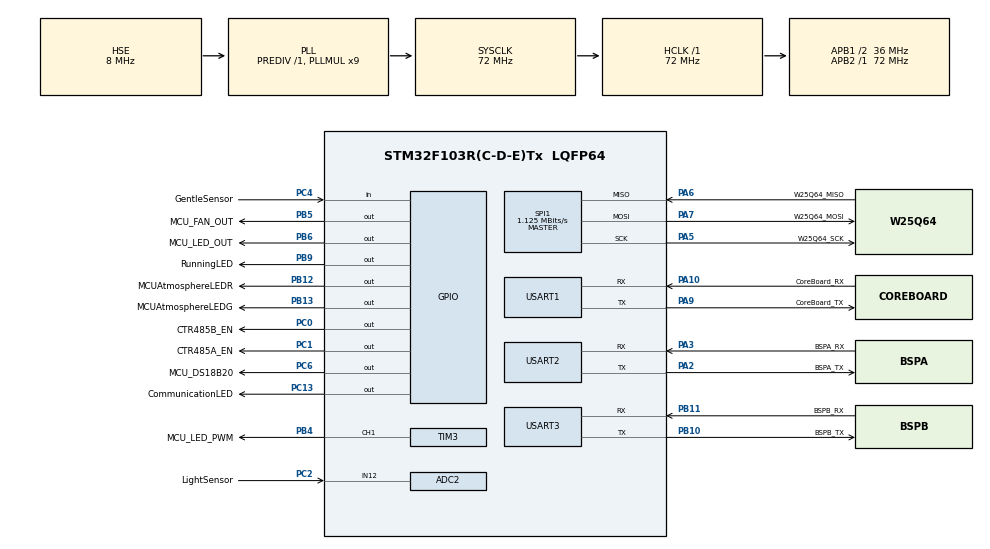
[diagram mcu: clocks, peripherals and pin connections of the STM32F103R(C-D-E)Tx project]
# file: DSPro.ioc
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ADC1.Channel-0\#ChannelRegularConversion=ADC_CHANNEL_TEMPSENSOR
ADC1.ContinuousConvMode=ENABLE
ADC1.DataAlign=ADC_DATAALIGN_RIGHT
ADC1.DiscontinuousConvMode=DISABLE
ADC1.EnableAnalogWatchDog=false
ADC1.EnableRegularConversion=ENABLE
ADC1.ExternalTrigConv=ADC_SOFTWARE_START
ADC1.InjNumberOfConversion=0
ADC1.NbrOfConversion=1
ADC1.NbrOfConversionFlag=1
ADC1.Rank-0\#ChannelRegularConversion=1
ADC1.SamplingTime-0\#ChannelRegularConversion=ADC_SAMPLETIME_239CYCLES_5
ADC1.ScanConvMode=ADC_SCAN_DISABLE
ADC1.master=1
ADC2.Channel-0\#ChannelRegularConversion=ADC_CHANNEL_12
ADC2.ContinuousConvMode=DISABLE
ADC2.DataAlign=ADC_DATAALIGN_RIGHT
ADC2.DiscontinuousConvMode=DISABLE
ADC2.EnableAnalogWatchDog=false
ADC2.EnableRegularConversion=ENABLE
ADC2.ExternalTrigConv=ADC_SOFTWARE_START
ADC2.InjNumberOfConversion=0
ADC2.NbrOfConversion=1
ADC2.NbrOfConversionFlag=1
ADC2.Rank-0\#ChannelRegularConversion=1
ADC2.SamplingTime-0\#ChannelRegularConversion=ADC_SAMPLETIME_239CYCLES_5
ADC2.ScanConvMode=ADC_SCAN_DISABLE
Dma.Request0=USART1_RX
Dma.Request1=USART2_RX
Dma.Request2=USART3_RX
Dma.USART1_RX.0.Direction=DMA_PERIPH_TO_MEMORY
Dma.USART1_RX.0.Instance=DMA1_Channel5
Dma.USART1_RX.0.MemDataAlignment=DMA_MDATAALIGN_BYTE
Dma.USART1_RX.0.MemInc=DMA_MINC_ENABLE
Dma.USART1_RX.0.Mode=DMA_NORMAL
Dma.USART1_RX.0.PeriphDataAlignment=DMA_PDATAALIGN_BYTE
Dma.USART1_RX.0.PeriphInc=DMA_PINC_DISABLE
Dma.USART1_RX.0.Priority=DMA_PRIORITY_LOW
Dma.USART2_RX.1.Direction=DMA_PERIPH_TO_MEMORY
Dma.USART2_RX.1.Instance=DMA1_Channel6
Dma.USART2_RX.1.MemDataAlignment=DMA_MDATAALIGN_BYTE
Dma.USART2_RX.1.MemInc=DMA_MINC_ENABLE
Dma.USART2_RX.1.Mode=DMA_NORMAL
Dma.USART2_RX.1.PeriphDataAlignment=DMA_PDATAALIGN_BYTE
Dma.USART2_RX.1.PeriphInc=DMA_PINC_DISABLE
Dma.USART2_RX.1.Priority=DMA_PRIORITY_LOW
Dma.USART3_RX.2.Direction=DMA_PERIPH_TO_MEMORY
Dma.USART3_RX.2.Instance=DMA1_Channel3
Dma.USART3_RX.2.MemDataAlignment=DMA_MDATAALIGN_BYTE
Dma.USART3_RX.2.MemInc=DMA_MINC_ENABLE
Dma.USART3_RX.2.Mode=DMA_NORMAL
Dma.USART3_RX.2.PeriphDataAlignment=DMA_PDATAALIGN_BYTE
Dma.USART3_RX.2.PeriphInc=DMA_PINC_DISABLE
Dma.USART3_RX.2.Priority=DMA_PRIORITY_LOW
Mcu.Family=STM32F1
Mcu.Name=STM32F103R(C-D-E)Tx
Mcu.Package=LQFP64
NVIC.ADC1_2_IRQn=true\:0\:0\:false\:true\:true\:10\:true
NVIC.DMA1_Channel3_IRQn=true\:0\:0\:false\:true\:true\:7\:false
NVIC.DMA1_Channel5_IRQn=true\:0\:0\:false\:true\:true\:8\:false
NVIC.DMA1_Channel6_IRQn=true\:0\:0\:false\:true\:true\:9\:false
NVIC.PriorityGroup=NVIC_PRIORITYGROUP_4
NVIC.SPI1_IRQn=true\:0\:0\:false\:false\:true\:true
NVIC.TIM3_IRQn=true\:0\:0\:false\:false\:true\:true
NVIC.TIM4_IRQn=true\:0\:0\:false\:true\:true\:4\:true
NVIC.TIM5_IRQn=true\:0\:0\:false\:true\:true\:5\:true
NVIC.USART1_IRQn=true\:0\:0\:false\:true\:true\:1\:true
NVIC.USART2_IRQn=true\:0\:0\:false\:true\:true\:2\:true
NVIC.USART3_IRQn=true\:0\:0\:false\:true\:true\:3\:true
PA10.GPIO_Label=CoreBoard_RX
PA10.Mode=Asynchronous
PA10.Signal=USART1_RX
PA13.Mode=Serial_Wire
PA13.Signal=SYS_JTMS-SWDIO
PA14.Mode=Serial_Wire
PA14.Signal=SYS_JTCK-SWCLK
PA2.GPIO_Label=BSPA_TX
PA2.Mode=Asynchronous
PA2.Signal=USART2_TX
PA3.GPIO_Label=BSPA_RX
PA3.Mode=Asynchronous
PA3.Signal=USART2_RX
PA4.GPIO_Label=W25Q64_NSS
PA4.Signal=SPI1_NSS
PA5.GPIO_Label=W25Q64_SCK
PA5.Mode=Full_Duplex_Master
PA5.Signal=SPI1_SCK
PA6.GPIO_Label=W25Q64_MISO
PA6.Mode=Full_Duplex_Master
PA6.Signal=SPI1_MISO
PA7.GPIO_Label=W25Q64_MOSI
PA7.Mode=Full_Duplex_Master
PA7.Signal=SPI1_MOSI
PA9.GPIO_Label=CoreBoard_TX
PA9.Mode=Asynchronous
PA9.Signal=USART1_TX
PB10.GPIO_Label=BSPB_TX
PB10.Mode=Asynchronous
PB10.Signal=USART3_TX
PB11.GPIO_Label=BSPB_RX
PB11.Mode=Asynchronous
PB11.Signal=USART3_RX
PB12.GPIO_Label=MCUAtmosphereLEDR
PB12.Signal=GPIO_Output
PB13.GPIO_Label=MCUAtmosphereLEDG
PB13.Signal=GPIO_Output
PB4.GPIO_Label=MCU_LED_PWM
PB4.Signal=S_TIM3_CH1
PB5.GPIO_Label=MCU_FAN_OUT
PB5.Signal=GPIO_Output
PB6.GPIO_Label=MCU_LED_OUT
PB6.Signal=GPIO_Output
PB9.GPIO_Label=RunningLED
PB9.Signal=GPIO_Output
PC0.GPIO_Label=CTR485B_EN
PC0.Signal=GPIO_Output
PC1.GPIO_Label=CTR485A_EN
PC1.Signal=GPIO_Output
PC13-TAMPER-RTC.GPIO_Label=CommunicationLED
PC13-TAMPER-RTC.Signal=GPIO_Output
PC2.GPIO_Label=LightSensor
PC2.Signal=ADCx_IN12
PC4.GPIO_Label=GentleSensor
PC4.GPIO_PuPd=GPIO_PULLUP
PC4.Signal=GPIO_Input
PC6.GPIO_Label=MCU_DS18B20
PC6.Signal=GPIO_Output
PD0-OSC_IN.Mode=HSE-External-Oscillator
PD0-OSC_IN.Signal=RCC_OSC_IN
PD1-OSC_OUT.Mode=HSE-External-Oscillator
PD1-OSC_OUT.Signal=RCC_OSC_OUT
ProjectManager.HeapSize=0x200
ProjectManager.StackSize=0x400
ProjectManager.TargetToolchain=MDK-ARM V5
RCC.ADCPresc=RCC_ADCPCLK2_DIV6
RCC.AHBFreq_Value=72000000
RCC.APB1CLKDivider=RCC_HCLK_DIV2
RCC.APB1Freq_Value=36000000
RCC.APB1TimFreq_Value=72000000
RCC.APB2Freq_Value=72000000
RCC.APB2TimFreq_Value=72000000
RCC.HCLKFreq_Value=72000000
RCC.PLLMUL=RCC_PLL_MUL9
RCC.PLLSourceVirtual=RCC_PLLSOURCE_HSE
RCC.SYSCLKFreq_VALUE=72000000
RCC.SYSCLKSource=RCC_SYSCLKSOURCE_PLLCLK
RCC.USBFreq_Value=72000000
SH.ADCx_IN12.0=ADC2_IN12,IN12
SH.S_TIM3_CH1.0=TIM3_CH1,PWM Generation1 CH1
SPI1.BaudRatePrescaler=SPI_BAUDRATEPRESCALER_64
SPI1.CLKPhase=SPI_PHASE_1EDGE
SPI1.CLKPolarity=SPI_POLARITY_LOW
SPI1.CalculateBaudRate=1.125 MBits/s
SPI1.DataSize=SPI_DATASIZE_8BIT
SPI1.Direction=SPI_DIRECTION_2LINES
SPI1.Mode=SPI_MODE_MASTER
SPI1.VirtualType=VM_MASTER
TIM3.Channel-PWM\ Generation1\ CH1=TIM_CHANNEL_1
TIM3.OCFastMode_PWM-PWM\ Generation1\ CH1=TIM_OCFAST_DISABLE
TIM3.Period=4000-1
TIM3.Prescaler=72-1
TIM3.Pulse-PWM\ Generation1\ CH1=0
TIM4.Period=100-1
TIM4.Prescaler=72-1
TIM5.Period=1000-1
TIM5.Prescaler=72-1
USART1.VirtualMode=VM_ASYNC
USART2.VirtualMode=VM_ASYNC
USART3.VirtualMode=VM_ASYNC
VP_ADC1_TempSens_Input.Mode=IN-TempSens
VP_TIM4_VS_ClockSourceINT.Mode=Internal
VP_TIM5_VS_ClockSourceINT.Mode=Internal
board=DSv2.2Pro

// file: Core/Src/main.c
/**
  ******************************************************************************
  * @file           : main.c
  * @brief          : Main program body
  ******************************************************************************
  ******************************************************************************
  */
#include "main.h"
#include "stm32f1xx_hal.h"
#include "adc.h"
#include "dma.h"
#include "spi.h"
#include "tim.h"
#include "usart.h"
#include "gpio.h"

/* USER CODE BEGIN Includes */
#include "stdio.h"
#include "string.h"
/* USER CODE END Includes */

/* USER CODE BEGIN PV */
/* Private variables ---------------------------------------------------------*/
#define DEBUG       2
#define TIMEOUTNUM            42000UL  //42s
#define WAITINGTIMEOUTNUM     26000UL  //26s
#define ADCWAITINGTIMEOUTNUM  5000UL   //5s进行一次ADC采样

/* 车道机状态定义 */
enum ModeState{
  NORMAL_RUNNING_STATE  = 0, //正常运行状态
  SET_PRAMA_STATE       = 1, //参数设置状态
  COIL_TIGGER_STATE     = 2, //地感线圈触发来车状态
  SOFT_TIGGER_STATE     = 3, //视频流触发来车状态
};

enum ModeState gMachineStateFlag = NORMAL_RUNNING_STATE; //全局的状态变量
GPIOSTATUSDETECTION gGentleSensorStatusDetection;//地感检测结构体

uint16_t gTIM5LEDCheckCnt = 0;
uint8_t  gAtomsphereLedsModeFlag = 0;
uint32_t gCarTimeoutCnt = 0;
uint8_t gCarTimeoutFlag = 0;
uint8_t gSendAndReceiveFlag = 0; //0 -- 表示未发送  1 -- 表示已经发送命令，处在等待接收状态  2 -- 表示接收成功 3 -- 表示入场超时
uint32_t gSendAndReceiveTimeoutCnt  = 0;
uint16_t gTemptureValue = 0;
uint16_t gLightValue = 0;
uint8_t gADCSampleFlag = 0;
uint16_t gADCSampleTimeCnt = 0;

uint16_t gTemptureAlarm = 1800;//默认的温度报警值
uint16_t gLightAlarm;
/* USER CODE END PV */

void SystemClock_Config(void);
static void MX_NVIC_Init(void);

/* USER CODE BEGIN PFP */
/* Private function prototypes -----------------------------------------------*/
int fputc(int ch,FILE *f)
{
  HAL_UART_Transmit(&huart1,(uint8_t*)&ch,1,0x02);
  return ch;
}
void DEBUG_PRINT(uint8_t * x,uint8_t prior)
{
  if(prior == DEBUG)
      printf("%s\r\n",x);
}
static uint8_t getXORCode(uint8_t* pData,uint16_t len)
{
  uint8_t ret;
  uint16_t i;
  ret = pData[0];
  for(i = 1; i < len; i++)
  {
    ret ^= pData[i];
  }
  return ret;
}

static void SendCarComingCmdToBoard(void)
{
  uint8_t data[7];
  data[0] = 0x5B;
  data[1] = 0xB1;
  data[2] = 0x01;
  data[3] = 0x00;
  data[4] = 0x00;
  data[5] = 0xB0;
  data[6] = 0x5D;
  DS_SendDataToCoreBoard(data, 7, 0x0F);
}

static void SendAckToBoard(Dev_Type boardType,uint8_t ackCmd,uint8_t ackParam1, uint8_t ackParam2)
{
  uint8_t ackData[6];
  ackData[0] = 0x5B;
  ackData[1] = ackCmd;
  ackData[2] = ackParam1;
  ackData[3] = ackParam2;
  ackData[4] = getXORCode(ackData+1,3);
  ackData[5] = 0x5D;
  if(CoreBoard_Dev == boardType)
  {
    DS_SendDataToCoreBoard(ackData,6,0x0F);
  }
  if(LeftBoard_Dev == boardType)
  {
    DS_SendDataToLeftDoorBoard(ackData,6,0x0F);
  }
  if(RightBoard_Dev == boardType)
  {
    DS_SendDataToRightDoorBoard(ackData,6,0x0F);
  }
}
//上报车辆出入场信息（失败，成功，超时）
static void reportCarEnterOrExitInfo(void)
{
  if(2 == gSendAndReceiveFlag)//车辆入场成功
  {
    gSendAndReceiveFlag = 0;
    gMachineStateFlag = NORMAL_RUNNING_STATE;
    DEBUG_PRINT((uint8_t*)"Car Enter successed",3);
    SendAckToBoard(CoreBoard_Dev,0xAB,0x02,0x00);
  }
  else if(3 == gSendAndReceiveFlag) //车辆入场失败
  {
    gSendAndReceiveFlag = 0;
    gMachineStateFlag = NORMAL_RUNNING_STATE;
    DEBUG_PRINT((uint8_t*)"Car Enter timeout",3);
    SendAckToBoard(CoreBoard_Dev,0xAB,0x02,0x01);
  }
}
/* PWM输出占空比设置100HZ */
void userPWMSetValue(uint16_t value)
{
  TIM_OC_InitTypeDef sConfigOC;

  sConfigOC.OCMode = TIM_OCMODE_PWM1;
  sConfigOC.Pulse = value;
  sConfigOC.OCPolarity = TIM_OCPOLARITY_HIGH;
  sConfigOC.OCFastMode = TIM_OCFAST_DISABLE;
  HAL_TIM_PWM_ConfigChannel(&htim3, &sConfigOC, TIM_CHANNEL_1);
  HAL_TIM_PWM_Start(&htim3,TIM_CHANNEL_1);
}

/* 解析来自CoreBoard的信息 */
void checkCoreBoardInfo(void);
/* 解析来自LeftDoor的信息 */
void checkLeftDoorInfo(void);
/* 解析来自RightDoor的信息 */
void checkRightDoorInfo(void);
/* 获取温度和光照强度值 */
uint32_t getTemptureAndLightValues(void);
/* USER CODE END PFP */

int main(void)
{

  /* MCU Configuration----------------------------------------------------------*/

  /* Reset of all peripherals, Initializes the Flash interface and the Systick. */
  HAL_Init();

  /* Configure the system clock */
  SystemClock_Config();

  /* Initialize all configured peripherals */
  MX_GPIO_Init();
  MX_DMA_Init();
  MX_ADC1_Init();
  MX_SPI1_Init();
  MX_TIM4_Init();
  MX_TIM5_Init();
  MX_USART1_UART_Init();
  MX_USART2_UART_Init();
  MX_USART3_UART_Init();
  MX_TIM3_Init();
  MX_ADC2_Init();

  /* Initialize interrupts */
  MX_NVIC_Init();
  /* USER CODE BEGIN 2 */
  HAL_TIM_Base_Start_IT(&htim4);
  HAL_TIM_Base_Start_IT(&htim5);
  //HAL_TIM_PWM_Start(&htim3,TIM_CHANNEL_1);//PWM调制100Hz
  //HAL_TIM_PWM_Stop(&htim3,TIM_CHANNEL_1);//PWM停止输出
  /* 地感检测变量初始化 */
  gGentleSensorStatusDetection.GpioFilterCnt = 0;
  gGentleSensorStatusDetection.GpioFilterCntSum = 50;
  gGentleSensorStatusDetection.GpioValidLogicTimeCnt = 0;
  /* 初始化核心板，道闸A 以及道闸B 的通讯 */
  DS_CoreBoardProtocolInit();
  DS_LeftDoorBoardProtocolInit();
  DS_RightDoorBoardProtocolInit();
  /* USER CODE END 2 */

  /* Infinite loop */
  while (1)
  {

  /* USER CODE BEGIN 3 */
    HAL_GPIO_WritePin(RunningLED_GPIO_Port,RunningLED_Pin,RunningLED_ON);//打开工作指示灯
    //printf("Welcome to use the devience\r\n");
    //HAL_UART_Transmit(&huart1,(uint8_t*)"Welcome to use the devience\r\n",30,0x02);
    //HAL_Delay(500);
    /*
    1.检测串口接收到的数据
    2.解析串口接收数据
    3.获取ADC采样值
    */
    /* 解析来自CoreBoard的信息 */
    checkCoreBoardInfo();
    /* 解析来自LeftDoor的信息 */
    checkLeftDoorInfo();
    /* 解析来自RightDoor的信息 */
    checkRightDoorInfo();
    /* 获取温度和光照强度值 */
    getTemptureAndLightValues();

    /* 正常运行模式 */
    if(NORMAL_RUNNING_STATE == gMachineStateFlag)//正常运行状态
    {
      /*
      1.检测温度值，并根据温度数值决定是否打开风扇
      2.检测光照强度值，并根据光照强度决定是否常开补光灯
      3.氛围灯常量（绿色，不闪烁，红灯灭）
      4.检测是否存在超时
      5.关闭补光灯
      */
      if(gTemptureValue > gTemptureAlarm)//1.
      {
        HAL_GPIO_WritePin(MCU_FAN_OUT_GPIO_Port,MCU_FAN_OUT_Pin,MCU_FAN_ON);
      }
      else
      {
        HAL_GPIO_WritePin(MCU_FAN_OUT_GPIO_Port,MCU_FAN_OUT_Pin,MCU_FAN_OFF);
      }

      gAtomsphereLedsModeFlag = 0;//3.

      if(2 == gCarTimeoutFlag)//4.
      {
        DEBUG_PRINT((uint8_t*)"coil tigger error",3);
        /* 上报地感故障指令 */
        gCarTimeoutFlag = 0;
      }
      if(1 == gCarTimeoutFlag || 3 == gSendAndReceiveFlag)
      {
        gCarTimeoutFlag = 0;
        gSendAndReceiveFlag = 0;
        /* 返回车辆入场超时指令 */
        DEBUG_PRINT((uint8_t*)"Car stops timeout",3);
        SendAckToBoard(CoreBoard_Dev,0xAB,0x02,0x01);
        gGentleSensorStatusDetection.GpioValidLogicTimeCnt++;
      }
      HAL_GPIO_WritePin(MCU_LED_OUT_GPIO_Port,MCU_LED_OUT_Pin,MCU_LED_OFF);//5.

    }
    /* 参数设置模式 */
    if(SET_PRAMA_STATE == gMachineStateFlag) //参数设置状态
    {
      /*
      1.红灯闪烁，绿灯常量
      2.根据相关协议处理参数设置命令
      */
      gAtomsphereLedsModeFlag = 1;//1.
    }
    /* 地感触发模式下 */
    if(COIL_TIGGER_STATE == gMachineStateFlag) //地感触发状态
    {
      /*
      1.开启补光灯（PWM）
      2.开启氛围灯（绿灯闪烁，红灯长灭）
      3.上报车辆触发地感信息
      4.上报车辆出入场信息（失败，成功，超时）
      */
      HAL_GPIO_WritePin(MCU_LED_OUT_GPIO_Port,MCU_LED_OUT_Pin,MCU_LED_ON);//1.
      gAtomsphereLedsModeFlag = 2;//2.
      if(1 == gGentleSensorStatusDetection.GpioSendDataFlag) //3.上报车辆触发地感信息
      {
        SendCarComingCmdToBoard();
        //gSendAndReceiveFlag = 1;
        gGentleSensorStatusDetection.GpioSendDataFlag = 0;
      }
      //4.上报车辆出入场信息（失败，成功，超时）
      reportCarEnterOrExitInfo();

    }
    /* 视频流触发模式下 */
    if(SOFT_TIGGER_STATE == gMachineStateFlag) //视频流触发状态
    {
      /*
      1.开启补光灯（PWM）
      2.开启氛围灯（绿灯闪烁，红灯长灭）
      3.上报车辆出入场信息（失败，成功，超时）
      */
      HAL_GPIO_WritePin(MCU_LED_OUT_GPIO_Port,MCU_LED_OUT_Pin,MCU_LED_ON);//1.
      gAtomsphereLedsModeFlag = 2;//2.
      reportCarEnterOrExitInfo();//3.
    }

  }
  /* USER CODE END 3 */

}

void SystemClock_Config(void)
{

  RCC_OscInitTypeDef RCC_OscInitStruct;
  RCC_ClkInitTypeDef RCC_ClkInitStruct;
  RCC_PeriphCLKInitTypeDef PeriphClkInit;

    /**Initializes the CPU, AHB and APB busses clocks
    */
  RCC_OscInitStruct.OscillatorType = RCC_OSCILLATORTYPE_HSE;
  RCC_OscInitStruct.HSEState = RCC_HSE_ON;
  RCC_OscInitStruct.HSEPredivValue = RCC_HSE_PREDIV_DIV1;
  RCC_OscInitStruct.HSIState = RCC_HSI_ON;
  RCC_OscInitStruct.PLL.PLLState = RCC_PLL_ON;
  RCC_OscInitStruct.PLL.PLLSource = RCC_PLLSOURCE_HSE;
  RCC_OscInitStruct.PLL.PLLMUL = RCC_PLL_MUL9;
  if (HAL_RCC_OscConfig(&RCC_OscInitStruct) != HAL_OK)
  {
    _Error_Handler(__FILE__, __LINE__);
  }

    /**Initializes the CPU, AHB and APB busses clocks
    */
  RCC_ClkInitStruct.ClockType = RCC_CLOCKTYPE_HCLK|RCC_CLOCKTYPE_SYSCLK
                              |RCC_CLOCKTYPE_PCLK1|RCC_CLOCKTYPE_PCLK2;
  RCC_ClkInitStruct.SYSCLKSource = RCC_SYSCLKSOURCE_PLLCLK;
  RCC_ClkInitStruct.AHBCLKDivider = RCC_SYSCLK_DIV1;
  RCC_ClkInitStruct.APB1CLKDivider = RCC_HCLK_DIV2;
  RCC_ClkInitStruct.APB2CLKDivider = RCC_HCLK_DIV1;

  if (HAL_RCC_ClockConfig(&RCC_ClkInitStruct, FLASH_LATENCY_2) != HAL_OK)
  {
    _Error_Handler(__FILE__, __LINE__);
  }

  PeriphClkInit.PeriphClockSelection = RCC_PERIPHCLK_ADC;
  PeriphClkInit.AdcClockSelection = RCC_ADCPCLK2_DIV6;
  if (HAL_RCCEx_PeriphCLKConfig(&PeriphClkInit) != HAL_OK)
  {
    _Error_Handler(__FILE__, __LINE__);
  }

    /**Configure the Systick interrupt time
    */
  HAL_SYSTICK_Config(HAL_RCC_GetHCLKFreq()/1000);

    /**Configure the Systick
    */
  HAL_SYSTICK_CLKSourceConfig(SYSTICK_CLKSOURCE_HCLK);

  /* SysTick_IRQn interrupt configuration */
  HAL_NVIC_SetPriority(SysTick_IRQn, 0, 0);
}

/**
  * @brief NVIC Configuration.
  * @retval None
  */
static void MX_NVIC_Init(void)
{
  /* USART1_IRQn interrupt configuration */
  HAL_NVIC_SetPriority(USART1_IRQn, 0, 0);
  HAL_NVIC_EnableIRQ(USART1_IRQn);
  /* USART2_IRQn interrupt configuration */
  HAL_NVIC_SetPriority(USART2_IRQn, 0, 0);
  HAL_NVIC_EnableIRQ(USART2_IRQn);
  /* USART3_IRQn interrupt configuration */
  HAL_NVIC_SetPriority(USART3_IRQn, 0, 0);
  HAL_NVIC_EnableIRQ(USART3_IRQn);
  /* TIM4_IRQn interrupt configuration */
  HAL_NVIC_SetPriority(TIM4_IRQn, 0, 0);
  HAL_NVIC_EnableIRQ(TIM4_IRQn);
  /* TIM5_IRQn interrupt configuration */
  HAL_NVIC_SetPriority(TIM5_IRQn, 0, 0);
  HAL_NVIC_EnableIRQ(TIM5_IRQn);
  /* DMA1_Channel3_IRQn interrupt configuration */
  HAL_NVIC_SetPriority(DMA1_Channel3_IRQn, 0, 0);
  HAL_NVIC_EnableIRQ(DMA1_Channel3_IRQn);
  /* DMA1_Channel5_IRQn interrupt configuration */
  HAL_NVIC_SetPriority(DMA1_Channel5_IRQn, 0, 0);
  HAL_NVIC_EnableIRQ(DMA1_Channel5_IRQn);
  /* DMA1_Channel6_IRQn interrupt configuration */
  HAL_NVIC_SetPriority(DMA1_Channel6_IRQn, 0, 0);
  HAL_NVIC_EnableIRQ(DMA1_Channel6_IRQn);
  /* ADC1_2_IRQn interrupt configuration */
  HAL_NVIC_SetPriority(ADC1_2_IRQn, 0, 0);
  HAL_NVIC_EnableIRQ(ADC1_2_IRQn);
}

/* USER CODE BEGIN 4 */
void  HAL_TIM_PeriodElapsedCallback(TIM_HandleTypeDef *htim)
{
  UNUSED(htim);
  /* 0.1ms **********************************************************************************************/
  if(htim4.Instance == htim->Instance)
  {
    /* 添加地感处理 */
    gGentleSensorStatusDetection.GpioCurrentReadVal = HAL_GPIO_ReadPin(GentleSensor_GPIO_Port, GentleSensor_Pin);
    if(0 == gGentleSensorStatusDetection.GpioCurrentReadVal && 0 == gGentleSensorStatusDetection.GpioLastReadVal)
    {
      if(0 == gGentleSensorStatusDetection.GpioCheckedFlag)
      {
        gGentleSensorStatusDetection.GpioFilterCnt++;
        if(gGentleSensorStatusDetection.GpioFilterCnt > gGentleSensorStatusDetection.GpioFilterCntSum)
        {
          gGentleSensorStatusDetection.GpioStatusVal    = 1;
          gGentleSensorStatusDetection.GpioFilterCnt    = 0;
          gGentleSensorStatusDetection.GpioCheckedFlag  = 1;
          gGentleSensorStatusDetection.GpioSendDataFlag = 1;
          gMachineStateFlag =  COIL_TIGGER_STATE;
        }
      }
    }
    else
    {
      if(1 == gGentleSensorStatusDetection.GpioCheckedFlag) //车辆有压住地感到离开地感，进入正常模式
      {
        gMachineStateFlag = NORMAL_RUNNING_STATE;
      }
      gGentleSensorStatusDetection.GpioCheckedFlag	= 0;
      gGentleSensorStatusDetection.GpioFilterCnt		= 0;
      gGentleSensorStatusDetection.GpioStatusVal		= 0;
      gGentleSensorStatusDetection.GpioValidLogicTimeCnt = 1;
    }
    gGentleSensorStatusDetection.GpioLastReadVal = gGentleSensorStatusDetection.GpioCurrentReadVal;
  }
  /* 1ms ************************************************************************************************/
  if(htim5.Instance == htim->Instance)
  {
    /*闪烁频率设置位5Hz*/
    gTIM5LEDCheckCnt++;
    if(gTIM5LEDCheckCnt > 199)
    {
      DEBUG_PRINT((uint8_t*)"Enter LED Check",1);
      gTIM5LEDCheckCnt = 0;
      if(0 == gAtomsphereLedsModeFlag)
      {
        /* 绿灯亮红灯灭 */
        DEBUG_PRINT((uint8_t*)"Green led light and red led reset",1);
        HAL_GPIO_WritePin(MCUAtmosphereLEDR_GPIO_Port,MCUAtmosphereLEDR_Pin,MCUAtmosphereLEDR_OFF);
        HAL_GPIO_WritePin(MCUAtmosphereLEDG_GPIO_Port,MCUAtmosphereLEDG_Pin,MCUAtmosphereLEDG_ON);
      }
      else if(1 == gAtomsphereLedsModeFlag)
      {
        DEBUG_PRINT((uint8_t*)"Green led light and Red led flash",1);
        HAL_GPIO_WritePin(MCUAtmosphereLEDG_GPIO_Port,MCUAtmosphereLEDG_Pin,MCUAtmosphereLEDG_ON);
        HAL_GPIO_TogglePin(MCUAtmosphereLEDR_GPIO_Port,MCUAtmosphereLEDR_Pin);
      }
      else if(2 == gAtomsphereLedsModeFlag)
      {
        DEBUG_PRINT((uint8_t*)"Red led OFF and green led flash",1);
        HAL_GPIO_WritePin(MCUAtmosphereLEDR_GPIO_Port,MCUAtmosphereLEDR_Pin,MCUAtmosphereLEDR_OFF);
        HAL_GPIO_TogglePin(MCUAtmosphereLEDG_GPIO_Port,MCUAtmosphereLEDG_Pin);
      }
      else
      {
        //系统错误 - 001 表示灯模式错误
        DEBUG_PRINT((uint8_t*)" system err code -- 001 ",1);
      }
    }

    //车辆压地感超时检测
    if(1 == gGentleSensorStatusDetection.GpioStatusVal)
    {
      gCarTimeoutCnt++;
      if(gCarTimeoutCnt > TIMEOUTNUM)//车辆停留地感超时
      {
        gCarTimeoutCnt = 0;
        if(gGentleSensorStatusDetection.GpioValidLogicTimeCnt  < 10 && gGentleSensorStatusDetection.GpioValidLogicTimeCnt > 0)
        {
          gCarTimeoutFlag = 1;//写车辆停留超时标志
        }
        else if(gGentleSensorStatusDetection.GpioValidLogicTimeCnt  > 9)
        {
          gCarTimeoutFlag = 2;//地感故障
          gGentleSensorStatusDetection.GpioValidLogicTimeCnt  = 0;
        }
        gMachineStateFlag = NORMAL_RUNNING_STATE;//超时后进入正常模式，在正常模式上报超时指令
      }
    }
    else
    {
      gCarTimeoutCnt = 0;
    }

    //命令响应超时检测
    if(1 == gSendAndReceiveFlag)
    {
      gSendAndReceiveTimeoutCnt ++ ;
      if(gSendAndReceiveTimeoutCnt > WAITINGTIMEOUTNUM)
      {
        gSendAndReceiveFlag = 3;//等待超时
        gSendAndReceiveTimeoutCnt = 0;
      }
    }
    else if(0 == gSendAndReceiveFlag)
    {
      gSendAndReceiveTimeoutCnt = 0;
    }

    //ADC采样计数器
    gADCSampleTimeCnt++;
    if(gADCSampleTimeCnt > ADCWAITINGTIMEOUTNUM)
    {
      gADCSampleFlag = 1;
      gADCSampleTimeCnt = 0;
    }
  }
  /**********************************************************************************************************/
}

/* 解析来自CoreBoard的信息 */
void checkCoreBoardInfo(void)
{
  if(gCoreBoardInfoFlag)
  {
    gCoreBoardInfoFlag = 0;
    DEBUG_PRINT((uint8_t*)"Receive bytes from coreboard",1);
    printf("the uart1 rx_lenth is %d:\n%s\r\n",gCoreBoardReceiveInfoLength,gCoreBoardReceiveInfo);
    DS_SendDataToCoreBoard(gCoreBoardReceiveInfo,gCoreBoardReceiveInfoLength,0x0F);
    /* 解析来自核心板的数据和命令 */
    if(0x5B == gCoreBoardReceiveInfo[0] && 0x5D == gCoreBoardReceiveInfo[gCoreBoardReceiveInfoLength - 1])
    {
      if(0xA0 == (gCoreBoardReceiveInfo[1] & 0xF0))
      {
        DEBUG_PRINT((uint8_t*)"Receive ACK from coreboard",1);
      }
      else
      {
        DEBUG_PRINT((uint8_t*)"Receive CMD from coreboard",1);
        if(0xB2 == gCoreBoardReceiveInfo[1] && 0x01 == gCoreBoardReceiveInfo[2])
        {
          DEBUG_PRINT((uint8_t*)"Receive Open door cmd from coreboard",1);
          /* 发送开闸指令到道闸 */
          DS_SendDataToLeftDoorBoard(gCoreBoardReceiveInfo,gCoreBoardReceiveInfoLength,0x0F);
          DS_SendDataToRightDoorBoard(gCoreBoardReceiveInfo,gCoreBoardReceiveInfoLength,0x0F);
          gSendAndReceiveFlag = 1;//写发送开闸指令标记，用来进行接收时的标记
        }
        if(0xB2 == gCoreBoardReceiveInfo[1] && 0x02 == gCoreBoardReceiveInfo[2])
        {
          DEBUG_PRINT((uint8_t*)"Receive Videos tirggle cmd from coreboard",1);
          /* 发送开闸指令到道闸 */
          gCoreBoardReceiveInfo[2]  = 0x01;
          DS_SendDataToRightDoorBoard(gCoreBoardReceiveInfo,gCoreBoardReceiveInfoLength,0x0F);
          DS_SendDataToLeftDoorBoard(gCoreBoardReceiveInfo,gCoreBoardReceiveInfoLength,0x0F);
          gSendAndReceiveFlag = 1;//写发送开闸指令标记，用来进行接收时的标记
          gMachineStateFlag = SOFT_TIGGER_STATE; //进入视频流触发模式
        }
        /* 数据转发至发送道闸A */
        if(0xC1 == gCoreBoardReceiveInfo[1])
        {
          DS_SendDataToLeftDoorBoard(gCoreBoardReceiveInfo,gCoreBoardReceiveInfoLength,0x0F);
        }
        /* 数据转发至道闸B */
        if(0xC2 == gCoreBoardReceiveInfo[1])
        {
          DS_SendDataToRightDoorBoard(gCoreBoardReceiveInfo,gCoreBoardReceiveInfoLength,0x0F);
        }
      }
    }
    memset(gCoreBoardReceiveInfo,0,gCoreBoardReceiveInfoLength);
    gCoreBoardReceiveInfoLength = 0;
  }
}
/* 解析来自LeftDoor的信息 */
void checkLeftDoorInfo(void)
{
  if(gLeftDoorBoardInfoFlag)
  {
    gLeftDoorBoardInfoFlag = 0;
    DEBUG_PRINT((uint8_t*)"Receive bytes from left door board",2);
    printf("the uart2 rx_lenth is %d:\n %s\r\n",gLeftDoorBoardReceiveInfoLength,gLeftDoorBoardReceiveInfo);
    DS_SendDataToLeftDoorBoard(gLeftDoorBoardReceiveInfo,gLeftDoorBoardReceiveInfoLength,0x0F);
    if(0x5B == gLeftDoorBoardReceiveInfo[0] && 0x5D == gLeftDoorBoardReceiveInfo[gLeftDoorBoardReceiveInfoLength - 1])
    {
      if(0xA0 == (gLeftDoorBoardReceiveInfo[1] & 0xF0))
      {
        /* 收到回复命令 */
      }
      else
      {
        if(1 == gSendAndReceiveFlag && 0xE3 == gLeftDoorBoardReceiveInfo[1])  //接收返回命令
        {
          if(0x01 == gLeftDoorBoardReceiveInfo[2])
          {
            gSendAndReceiveFlag = 3;  //入场超时
          }
          if(0x02 == gLeftDoorBoardReceiveInfo[2])
          {
             gSendAndReceiveFlag = 2;   //入场成功
          }
        }
        /* 接收到来自道闸A的C1类型的数据直接转发给核心板 */
        if(0xC1 == gLeftDoorBoardReceiveInfo[1])
        {
          DS_SendDataToCoreBoard(gLeftDoorBoardReceiveInfo,gLeftDoorBoardReceiveInfoLength,0x0F);
        }
      }
    }
    memset(gLeftDoorBoardReceiveInfo,0,gLeftDoorBoardReceiveInfoLength);
    gLeftDoorBoardReceiveInfoLength = 0;
  }
}
/* 解析来自RightDoor的信息 */
void checkRightDoorInfo(void)
{
  if(gRightDoorBoardInfoFlag)
  {
    gRightDoorBoardInfoFlag = 0;
    DEBUG_PRINT((uint8_t*)"Receive bytes from right door board",2);
//#if 1 == DEBUG
    printf("the uart2 rx_lenth is %d:\n %s\r\n",gRightDoorBoardReceiveInfoLength,gRightDoorBoardReceiveInfo);
//#endif
    DS_SendDataToRightDoorBoard(gRightDoorBoardReceiveInfo,gRightDoorBoardReceiveInfoLength,0x0F);

    if(0x5B == gRightDoorBoardReceiveInfo[0] && 0x5D == gRightDoorBoardReceiveInfo[gRightDoorBoardReceiveInfoLength - 1])
    {
      if(0xA0 == (gRightDoorBoardReceiveInfo[1] & 0xF0))
      {
        /* 收到回复命令 */
      }
      else
      {
        /* 接收到来自道闸B的C2类型的数据直接转发给核心板 */
        if(0xC2 == gRightDoorBoardReceiveInfo[1])
        {
          DS_SendDataToCoreBoard(gRightDoorBoardReceiveInfo,gRightDoorBoardReceiveInfoLength,0x0F);
        }
      }
    }
    memset(gRightDoorBoardReceiveInfo,0,gRightDoorBoardReceiveInfoLength);
    gRightDoorBoardReceiveInfoLength = 0;
  }
}

/* 获取温度和光照强度值 :返回数据的高16位表示温度，低16位表示光照强度*/
uint32_t getTemptureAndLightValues(void)
{
  uint32_t ret = 0;

  if(1 != gADCSampleFlag)
  {
    return 0xFFFFFFFF;
  }
  gADCSampleFlag = 0;
  HAL_ADC_Start(&hadc1);
  HAL_ADC_Start(&hadc2);

  HAL_ADC_PollForConversion(&hadc1,0x60);
  HAL_ADC_PollForConversion(&hadc2,0x60);

  if(HAL_IS_BIT_SET(HAL_ADC_GetState(&hadc1),HAL_ADC_STATE_REG_EOC))
  {
    gTemptureValue = HAL_ADC_GetValue(&hadc1);
  }
  if(HAL_IS_BIT_SET(HAL_ADC_GetState(&hadc2),HAL_ADC_STATE_REG_EOC))
  {
    gLightValue = HAL_ADC_GetValue(&hadc2);
  }
  ret = (gTemptureValue << 16) + gLightValue;

//2级DEBUG
#if 2 == DEBUG
  printf("Tempture is: 0x%04X\t Light is: 0x%04X\n",gTemptureValue,gLightValue);
#endif

  return ret;
}

/* USER CODE END 4 */

void _Error_Handler(char *file, int line)
{
  while(1)
  {
  }
}

/************************ (C) COPYRIGHT STMicroelectronics *****END OF FILE****/
